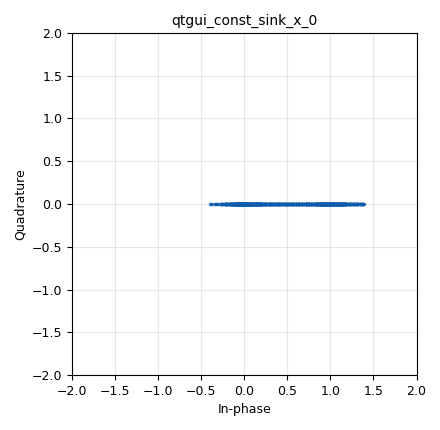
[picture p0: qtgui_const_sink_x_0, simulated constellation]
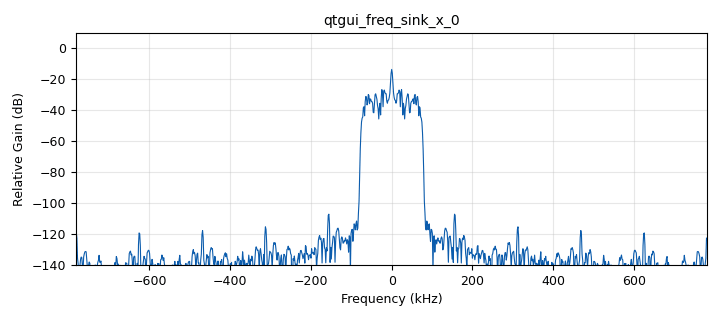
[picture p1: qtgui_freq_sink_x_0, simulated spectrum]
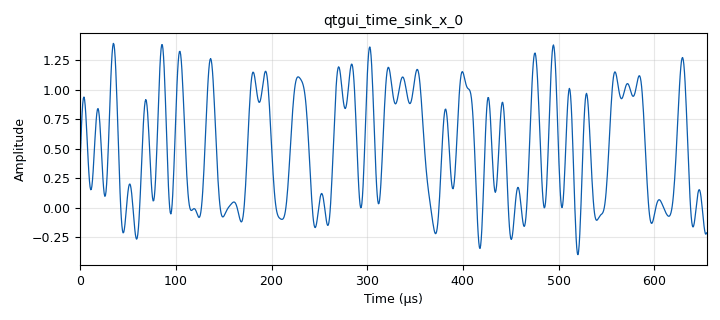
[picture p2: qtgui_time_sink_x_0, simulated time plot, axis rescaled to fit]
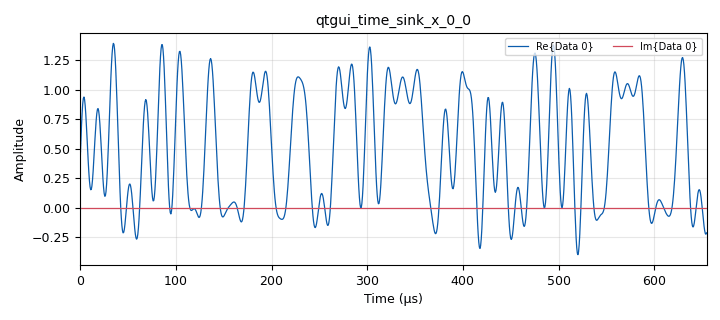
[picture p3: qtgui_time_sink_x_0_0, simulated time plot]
options:
  parameters:
    author: Murillo_Nicolas_Moncada_William
    copyright: UIS
    description: 'Modulaciones ASK en gnuradio '
    generate_options: qt_gui
    id: ModulacionASKPUNTOB
    output_language: python
    title: ModulacionesASK
  states: {}

blocks:
- name: Ac
  id: variable_qtgui_range
  parameters:
    label: Amplitud de portadora
    start: '0'
    step: '0.1'
    stop: '2'
    value: '1'
  states: {}
- name: DC
  id: variable_qtgui_range
  parameters:
    label: Nivel DC
    start: '-2'
    step: '0.1'
    stop: '2'
    value: '0'
  states: {}
- name: GTX
  id: variable_qtgui_range
  parameters:
    label: ganancia del TX
    start: '0'
    step: '1'
    stop: '30'
    value: '0'
  states: {}
- name: fc
  id: variable_qtgui_range
  parameters:
    label: frecuencia de portadora
    start: 50e6
    step: 1e6
    stop: 2200e6
    value: 50e6
  states: {}
- name: ka
  id: variable_qtgui_range
  parameters:
    label: coeficiente de sensibilidad ka
    start: '0'
    step: '0.1'
    stop: '1'
    value: '1'
  states: {}
- name: samp_rate
  id: variable
  parameters:
    value: '1562500'
  states: {}
- name: analog_random_source_x_0
  id: analog_random_source_x
  parameters:
    max: '2'
    min: '0'
    num_samps: '100000'
    repeat: 'True'
    type: byte
  states: {}
- name: blocks_add_const_vxx_0
  id: blocks_add_const_vxx
  parameters:
    const: DC
    type: float
  states: {}
- name: blocks_float_to_complex_0
  id: blocks_float_to_complex
  parameters: {}
  states: {}
- name: blocks_multiply_const_vxx_0
  id: blocks_multiply_const_vxx
  parameters:
    const: ka
    type: float
  states: {}
- name: blocks_multiply_const_vxx_0_0
  id: blocks_multiply_const_vxx
  parameters:
    const: Ac
    type: complex
  states: {}
- name: blocks_null_source_0
  id: blocks_null_source
  parameters:
    type: float
  states: {}
- name: blocks_uchar_to_float_0
  id: blocks_uchar_to_float
  parameters: {}
  states: {}
- name: qtgui_const_sink_x_0
  id: qtgui_const_sink_x
  parameters:
    size: '1024'
    type: complex
  states: {}
- name: qtgui_freq_sink_x_0
  id: qtgui_freq_sink_x
  parameters:
    bw: samp_rate
    fc: '0'
    fftsize: '1024'
    type: complex
  states: {}
- name: qtgui_time_sink_x_0
  id: qtgui_time_sink_x
  parameters:
    size: '1024'
    srate: samp_rate
    type: float
  states: {}
- name: qtgui_time_sink_x_0_0
  id: qtgui_time_sink_x
  parameters:
    autoscale: 'True'
    size: '1024'
    srate: samp_rate
    type: complex
  states: {}
- name: rational_resampler_xxx_0
  id: rational_resampler_xxx
  parameters:
    decim: '1'
    interp: '10'
    type: fff
  states: {}
- name: uhd_usrp_sink_0
  id: uhd_usrp_sink
  parameters:
    ant0: '"TX/RX"'
    center_freq0: '0'
    gain0: '0'
    samp_rate: samp_rate
    sync: sync
    type: fc32
  states: {}

connections:
- [analog_random_source_x_0, '0', blocks_uchar_to_float_0, '0']
- [blocks_add_const_vxx_0, '0', blocks_float_to_complex_0, '0']
- [blocks_add_const_vxx_0, '0', qtgui_time_sink_x_0, '0']
- [blocks_float_to_complex_0, '0', blocks_multiply_const_vxx_0_0, '0']
- [blocks_multiply_const_vxx_0, '0', blocks_add_const_vxx_0, '0']
- [blocks_multiply_const_vxx_0_0, '0', qtgui_const_sink_x_0, '0']
- [blocks_multiply_const_vxx_0_0, '0', qtgui_freq_sink_x_0, '0']
- [blocks_multiply_const_vxx_0_0, '0', qtgui_time_sink_x_0_0, '0']
- [blocks_multiply_const_vxx_0_0, '0', uhd_usrp_sink_0, '0']
- [blocks_null_source_0, '0', blocks_float_to_complex_0, '1']
- [blocks_uchar_to_float_0, '0', rational_resampler_xxx_0, '0']
- [rational_resampler_xxx_0, '0', blocks_multiply_const_vxx_0, '0']

metadata:
  file_format: 1
